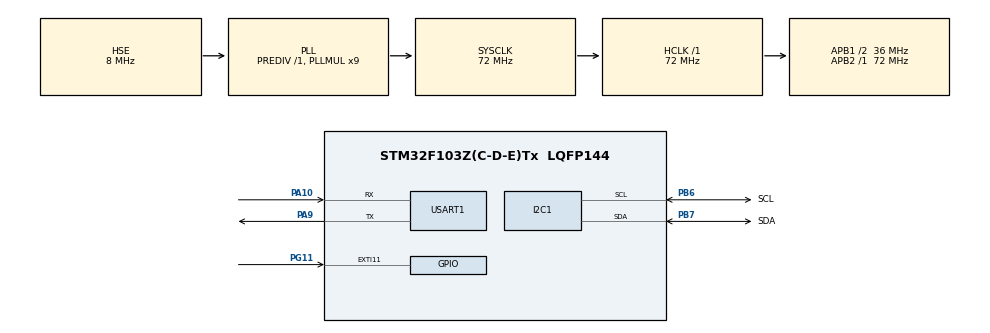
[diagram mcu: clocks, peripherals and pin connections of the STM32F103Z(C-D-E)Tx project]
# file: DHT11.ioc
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Mcu.Family=STM32F1
Mcu.Name=STM32F103Z(C-D-E)Tx
Mcu.Package=LQFP144
NVIC.PriorityGroup=NVIC_PRIORITYGROUP_4
OSC_IN.Mode=HSE-External-Oscillator
OSC_IN.Signal=RCC_OSC_IN
OSC_OUT.Mode=HSE-External-Oscillator
OSC_OUT.Signal=RCC_OSC_OUT
PA10.Mode=Asynchronous
PA10.Signal=USART1_RX
PA13.Mode=Serial_Wire
PA13.Signal=SYS_JTMS-SWDIO
PA14.Mode=Serial_Wire
PA14.Signal=SYS_JTCK-SWCLK
PA9.Mode=Asynchronous
PA9.Signal=USART1_TX
PB6.GPIO_Label=SCL
PB6.Mode=I2C
PB6.Signal=I2C1_SCL
PB7.GPIO_Label=SDA
PB7.Mode=I2C
PB7.Signal=I2C1_SDA
PG11.Signal=GPXTI11
ProjectManager.HeapSize=0x200
ProjectManager.StackSize=0x400
ProjectManager.TargetToolchain=SW4STM32
RCC.AHBFreq_Value=72000000
RCC.APB1CLKDivider=RCC_HCLK_DIV2
RCC.APB1Freq_Value=36000000
RCC.APB1TimFreq_Value=72000000
RCC.APB2Freq_Value=72000000
RCC.APB2TimFreq_Value=72000000
RCC.HCLKFreq_Value=72000000
RCC.PLLMUL=RCC_PLL_MUL9
RCC.PLLSourceVirtual=RCC_PLLSOURCE_HSE
RCC.SYSCLKFreq_VALUE=72000000
RCC.SYSCLKSource=RCC_SYSCLKSOURCE_PLLCLK
RCC.USBFreq_Value=72000000
TIM2.Prescaler=71
TIM3.Prescaler=71
USART1.VirtualMode=VM_ASYNC
VP_TIM2_VS_ClockSourceINT.Mode=Internal
VP_TIM3_VS_ClockSourceINT.Mode=Internal
board=custom

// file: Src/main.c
/* USER CODE BEGIN Header */
/**
  ******************************************************************************
  * @file           : main.c
  * @brief          : Main program body
  ******************************************************************************
  * @attention
  *
  * Copyright (c) 2023 STMicroelectronics.
  * All rights reserved.
  *
  * This software is licensed under terms that can be found in the LICENSE file
  * in the root directory of this software component.
  * If no LICENSE file comes with this software, it is provided AS-IS.
  *
  ******************************************************************************
  */
/* USER CODE END Header */
#include "main.h"
#include "i2c.h"
#include "tim.h"
#include "usart.h"
#include "gpio.h"

/* USER CODE BEGIN Includes */
#include "stdio.h"
#include "string.h"
#include "dht11.h"
/* USER CODE END Includes */

void SystemClock_Config(void);

int main(void)
{
  /* USER CODE BEGIN 1 */
    uint8_t temp = 1;
    uint8_t hum = 1;
    char *CntState = "NO Connect!\r\n";
    uint8_t aTxBuffer[50];
  /* USER CODE END 1 */

  /* MCU Configuration--------------------------------------------------------*/

  /* Reset of all peripherals, Initializes the Flash interface and the Systick. */
  HAL_Init();

  /* Configure the system clock */
  SystemClock_Config();

  /* Initialize all configured peripherals */
  MX_GPIO_Init();
  MX_TIM3_Init();
  MX_USART1_UART_Init();
  MX_I2C1_Init();
  MX_TIM2_Init();
  /* USER CODE BEGIN 2 */
    DHT11_Reset();
    while (DHT11_Check())
    {
        HAL_UART_Transmit(&huart1,CntState, strlen(CntState),200);
        HAL_Delay(500);
    }
    CntState="Success!\r\n";
    HAL_UART_Transmit(&huart1,CntState, strlen(CntState),200);
    HAL_Delay(100);
  /* USER CODE END 2 */

  /* Infinite loop */
  /* USER CODE BEGIN WHILE */
    while (1) {
        DHT11_Read_Data(&hum,&temp);
        printf("Temp:%d ¡æ\r\n,Hum:%d %\r\n,temp,hum);
        HAL_Delay(500);
    /* USER CODE END WHILE */

    }
}

void SystemClock_Config(void)
{
  RCC_OscInitTypeDef RCC_OscInitStruct = {0};
  RCC_ClkInitTypeDef RCC_ClkInitStruct = {0};

  /** Initializes the RCC Oscillators according to the specified parameters
  * in the RCC_OscInitTypeDef structure.
  */
  RCC_OscInitStruct.OscillatorType = RCC_OSCILLATORTYPE_HSE;
  RCC_OscInitStruct.HSEState = RCC_HSE_ON;
  RCC_OscInitStruct.HSEPredivValue = RCC_HSE_PREDIV_DIV1;
  RCC_OscInitStruct.HSIState = RCC_HSI_ON;
  RCC_OscInitStruct.PLL.PLLState = RCC_PLL_ON;
  RCC_OscInitStruct.PLL.PLLSource = RCC_PLLSOURCE_HSE;
  RCC_OscInitStruct.PLL.PLLMUL = RCC_PLL_MUL9;
  if (HAL_RCC_OscConfig(&RCC_OscInitStruct) != HAL_OK)
  {
    Error_Handler();
  }

  /** Initializes the CPU, AHB and APB buses clocks
  */
  RCC_ClkInitStruct.ClockType = RCC_CLOCKTYPE_HCLK|RCC_CLOCKTYPE_SYSCLK
                              |RCC_CLOCKTYPE_PCLK1|RCC_CLOCKTYPE_PCLK2;
  RCC_ClkInitStruct.SYSCLKSource = RCC_SYSCLKSOURCE_PLLCLK;
  RCC_ClkInitStruct.AHBCLKDivider = RCC_SYSCLK_DIV1;
  RCC_ClkInitStruct.APB1CLKDivider = RCC_HCLK_DIV2;
  RCC_ClkInitStruct.APB2CLKDivider = RCC_HCLK_DIV1;

  if (HAL_RCC_ClockConfig(&RCC_ClkInitStruct, FLASH_LATENCY_2) != HAL_OK)
  {
    Error_Handler();
  }
}

void Error_Handler(void)
{
    __disable_irq();
    while (1) {
    }
}
